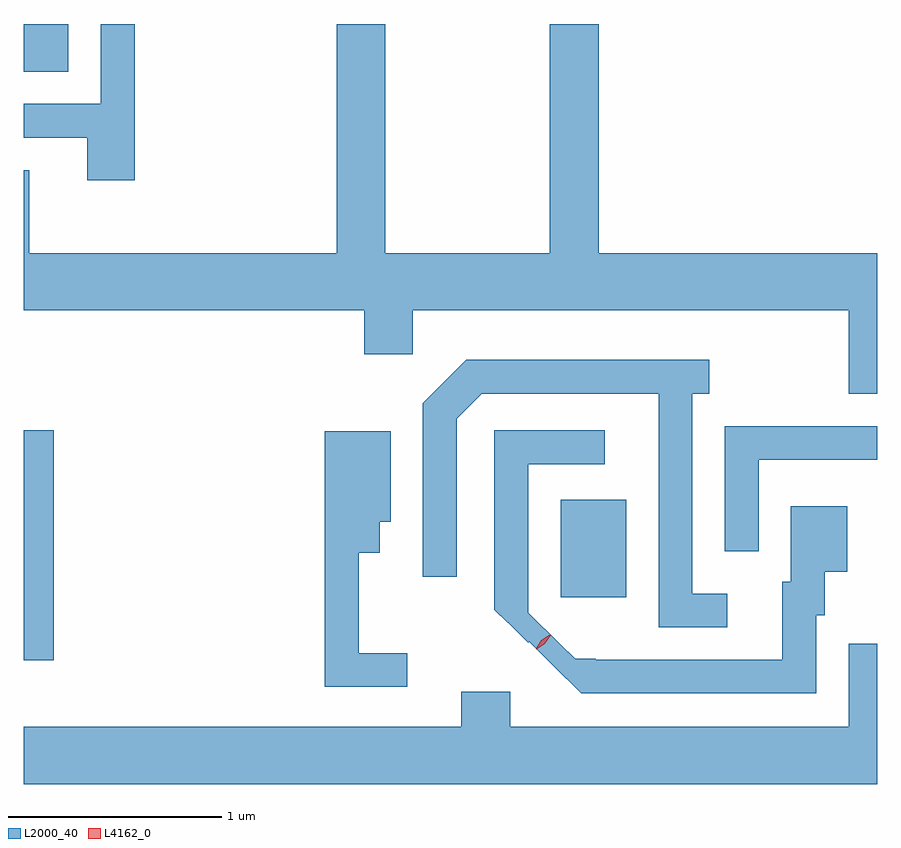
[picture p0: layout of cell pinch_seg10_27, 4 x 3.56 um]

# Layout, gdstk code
import gdstk
lib = gdstk.Library(unit=1e-6, precision=1e-09)
def R(c, l, rs):  # rectangles x0, y0, x1, y1
    for r in rs: c.add(gdstk.rectangle(r[:2], r[2:], *l))
def P(c, l, *ps):  # polygons
    for p in ps: c.add(gdstk.Polygon(p, *l))
L2000_40 = (2000, 40)
L4162_0 = (4162, 0)

pinch_seg10_27 = lib.new_cell('pinch_seg10_27')
R(pinch_seg10_27, L2000_40, [(597.935,2165.556,598.074,2166.634), (600.451,2165.851,600.759,2166.309), (597.935,2168.316,598.144,2168.539)])
P(pinch_seg10_27, L2000_40, [(601.935,2167.464),(600.629,2167.464),(600.629,2168.539),(600.401,2168.539),(600.401,2167.464),(599.629,2167.464),(599.629,2168.539),(599.401,2168.539),(599.401,2167.464),(597.959,2167.464),(597.959,2167.854),(597.935,2167.854),(597.935,2167.196),(599.531,2167.196),(599.531,2166.991),(599.759,2166.991),(599.759,2167.196),(601.801,2167.196),(601.801,2166.806),(601.935,2166.806)],
  [(598.454,2168.539),(598.296,2168.539),(598.296,2168.164),(597.935,2168.164),(597.935,2168.006),(598.231,2168.006),(598.231,2167.806),(598.454,2167.806)],
  [(601.233,2165.869),(601.069,2165.869),(601.069,2166.806),(601.148,2166.806),(601.148,2166.964),(600.009,2166.964),(599.806,2166.762),(599.806,2165.948),(599.964,2165.948),(599.964,2166.689),(600.082,2166.806),(600.911,2166.806),(600.911,2165.711),(601.233,2165.711)],
  [(601.379,2166.496),(601.935,2166.496),(601.935,2166.654),(601.221,2166.654),(601.221,2166.068),(601.379,2166.068)],
  [(601.649,2165.766),(601.689,2165.766),(601.689,2165.971),(601.794,2165.971),(601.794,2166.279),(601.531,2166.279),(601.531,2165.924),(601.491,2165.924),(601.491,2165.559),(600.615,2165.559),(600.615,2165.564),(600.519,2165.564),(600.45,2165.632),(600.449,2165.63),(600.299,2165.78),(600.299,2166.476),(600.658,2166.476),(600.658,2166.634),(600.141,2166.634),(600.141,2165.794),(600.204,2165.731),(600.205,2165.733),(600.3,2165.638),(600.304,2165.643),(600.477,2165.47),(600.478,2165.471),(600.548,2165.401),(601.649,2165.401)],
  [(599.733,2165.589),(599.504,2165.589),(599.504,2166.061),(599.604,2166.061),(599.604,2166.206),(599.654,2166.206),(599.654,2166.629),(599.346,2166.629),(599.346,2165.431),(599.733,2165.431)],
  [(601.935,2165.634),(601.801,2165.634),(601.801,2165.244),(600.214,2165.244),(600.214,2165.409),(599.986,2165.409),(599.986,2165.244),(597.935,2165.244),(597.935,2164.976),(601.935,2164.976)])
P(pinch_seg10_27, L4162_0, [(600.338,2165.608),(600.338,2165.609),(600.364,2165.649),(600.403,2165.675),(600.404,2165.675),(600.404,2165.674),(600.378,2165.634),(600.339,2165.608)],
  [(600.34,2165.615),(600.34,2165.616),(600.361,2165.651),(600.396,2165.673),(600.397,2165.673),(600.397,2165.672),(600.376,2165.637),(600.341,2165.615)])

lib.write_gds('pinch_seg10_27.gds')
